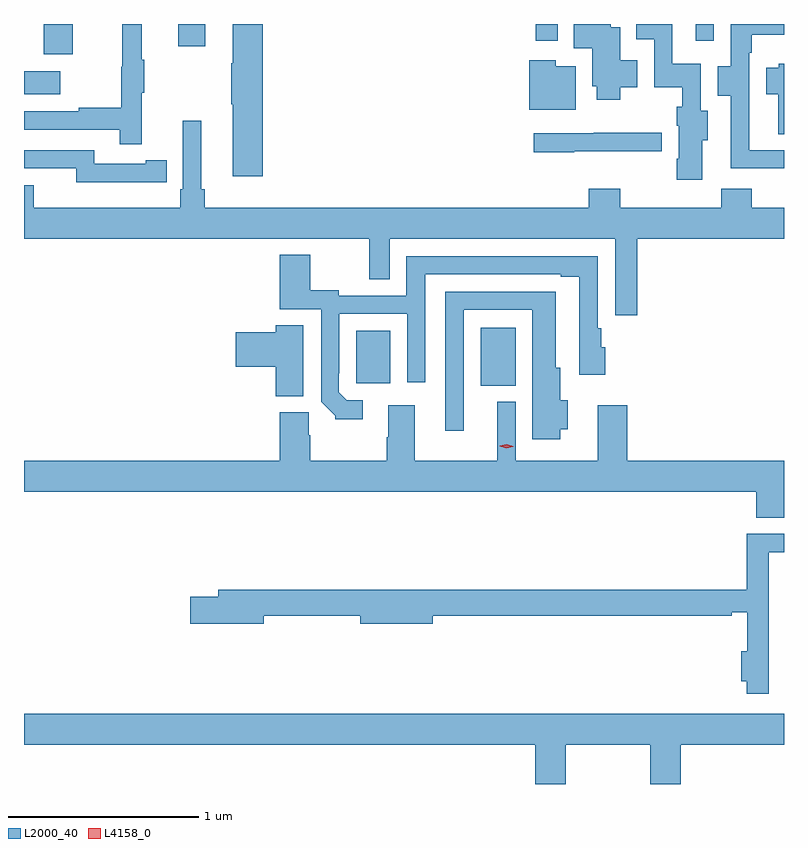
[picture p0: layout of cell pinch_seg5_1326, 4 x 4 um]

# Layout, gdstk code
import gdstk
lib = gdstk.Library(unit=1e-6, precision=1e-09)
def R(c, l, rs):  # rectangles x0, y0, x1, y1
    for r in rs: c.add(gdstk.rectangle(r[:2], r[2:], *l))
def P(c, l, *ps):  # polygons
    for p in ps: c.add(gdstk.Polygon(p, *l))
L2000_40 = (2000, 40)
L4158_0 = (4158, 0)

pinch_seg5_1326 = lib.new_cell('pinch_seg5_1326')
R(pinch_seg5_1326, L2000_40, [(304.505,889.286,304.69,889.591), (303.851,889.299,304.03,889.576), (302.102,890.819,302.293,890.941), (302.207,891.03,302.359,891.19), (302.915,891.072,303.055,891.19), (304.795,891.102,304.911,891.19), (305.637,891.102,305.733,891.19)])
P(pinch_seg5_1326, L2000_40, [(306.102,890.526),(305.92,890.526),(305.92,890.723),(305.919,890.723),(305.919,891.038),(305.932,891.038),(305.932,891.134),(306.102,891.134),(306.102,891.19),(305.823,891.19),(305.823,890.967),(305.753,890.967),(305.753,890.812),(305.823,890.812),(305.823,890.43),(306.102,890.43)],
  [(305.671,890.578),(305.701,890.578),(305.701,890.733),(305.664,890.733),(305.664,890.98),(305.514,890.98),(305.514,891.19),(305.325,891.19),(305.325,891.11),(305.418,891.11),(305.418,890.858),(305.566,890.858),(305.566,890.754),(305.537,890.754),(305.537,890.654),(305.549,890.654),(305.549,890.482),(305.537,890.482),(305.537,890.37),(305.671,890.37)],
  [(303.359,891.19),(303.2,891.19),(303.2,890.984),(303.193,890.984),(303.193,890.767),(303.2,890.767),(303.2,890.388),(303.359,890.388)],
  [(305.239,890.858),(305.329,890.858),(305.329,890.998),(305.239,890.998),(305.239,891.172),(305.191,891.172),(305.191,891.19),(304.996,891.19),(304.996,891.062),(305.093,891.062),(305.093,890.862),(305.117,890.862),(305.117,890.792),(305.239,890.792)],
  [(302.723,890.827),(302.734,890.827),(302.734,891.001),(302.723,891.001),(302.723,891.19),(302.62,891.19),(302.62,890.964),(302.613,890.964),(302.613,890.75),(302.389,890.75),(302.389,890.73),(302.102,890.73),(302.102,890.634),(302.605,890.634),(302.605,890.556),(302.723,890.556)],
  [(305.005,890.968),(304.9,890.968),(304.9,890.998),(304.76,890.998),(304.76,890.738),(305.005,890.738)],
  [(306.102,890.98),(306.075,890.98),(306.075,890.959),(306.008,890.959),(306.008,890.819),(306.071,890.819),(306.071,890.611),(306.102,890.611)],
  [(305.33,890.06),(306.102,890.06),(306.102,890.224),(305.931,890.224),(305.931,890.323),(305.771,890.323),(305.771,890.224),(305.24,890.224),(305.24,890.323),(305.075,890.323),(305.075,890.224),(303.053,890.224),(303.053,890.32),(303.034,890.32),(303.034,890.68),(302.937,890.68),(302.937,890.32),(302.924,890.32),(302.924,890.224),(302.152,890.224),(302.152,890.341),(302.102,890.341),(302.102,890.06),(303.918,890.06),(303.918,889.846),(304.026,889.846),(304.026,890.06),(305.214,890.06),(305.214,889.656),(305.33,889.656)],
  [(304.997,890.519),(305.458,890.519),(305.458,890.617),(305.101,890.617),(305.101,890.616),(304.785,890.616),(304.785,890.515),(304.997,890.515)],
  [(302.744,890.358),(302.852,890.358),(302.852,890.474),(302.744,890.474),(302.744,890.454),(302.472,890.454),(302.472,890.526),(302.102,890.526),(302.102,890.43),(302.376,890.43),(302.376,890.357),(302.744,890.357)],
  [(303.886,889.209),(303.801,889.209),(303.759,889.251),(303.759,889.351),(303.762,889.351),(303.762,889.665),(304.119,889.665),(304.119,889.305),(304.215,889.305),(304.215,889.872),(304.928,889.872),(304.928,889.86),(305.025,889.86),(305.025,889.344),(305.162,889.344),(305.162,889.488),(305.141,889.488),(305.141,889.588),(305.121,889.588),(305.121,889.968),(304.115,889.968),(304.115,889.761),(303.759,889.761),(303.759,889.79),(303.609,889.79),(303.609,889.975),(303.449,889.975),(303.449,889.689),(303.666,889.689),(303.666,889.203),(303.741,889.128),(303.741,889.111),(303.886,889.111)],
  [(304.924,889.058),(304.963,889.058),(304.963,889.211),(304.924,889.211),(304.924,889.38),(304.9,889.38),(304.9,889.782),(304.32,889.782),(304.32,889.05),(304.416,889.05),(304.416,889.686),(304.778,889.686),(304.778,889.004),(304.924,889.004)],
  [(303.571,889.604),(303.428,889.604),(303.428,889.568),(303.216,889.568),(303.216,889.385),(303.428,889.385),(303.428,889.231),(303.571,889.231)],
  [(306.102,888.892),(305.276,888.892),(305.276,889.183),(305.123,889.183),(305.123,888.892),(304.689,888.892),(304.689,889.201),(304.592,889.201),(304.592,888.892),(304.159,888.892),(304.159,889.183),(304.019,889.183),(304.019,889.016),(304.012,889.016),(304.012,888.892),(303.609,888.892),(303.609,889.025),(303.6,889.025),(303.6,889.146),(303.449,889.146),(303.449,888.892),(302.102,888.892),(302.102,888.728),(305.957,888.728),(305.957,888.592),(306.102,888.592)],
  [(306.022,887.886),(306.021,887.886),(306.021,888.411),(306.102,888.411),(306.102,888.507),(305.905,888.507),(305.905,888.212),(303.125,888.212),(303.125,888.176),(302.976,888.176),(302.976,888.034),(303.364,888.034),(303.364,888.076),(303.872,888.076),(303.872,888.034),(304.252,888.034),(304.252,888.076),(305.828,888.076),(305.828,888.095),(305.909,888.095),(305.909,887.89),(305.876,887.89),(305.876,887.732),(305.905,887.732),(305.905,887.664),(306.022,887.664)],
  [(304.953,887.396),(305.398,887.396),(305.398,887.19),(305.558,887.19),(305.558,887.396),(306.102,887.396),(306.102,887.56),(302.102,887.56),(302.102,887.396),(304.793,887.396),(304.793,887.19),(304.953,887.19)])
P(pinch_seg5_1326, L4158_0, [(304.641,888.958),(304.606,888.968),(304.606,888.969),(304.606,888.969),(304.642,888.978),(304.677,888.967),(304.677,888.967),(304.677,888.966)])

lib.write_gds('pinch_seg5_1326.gds')
